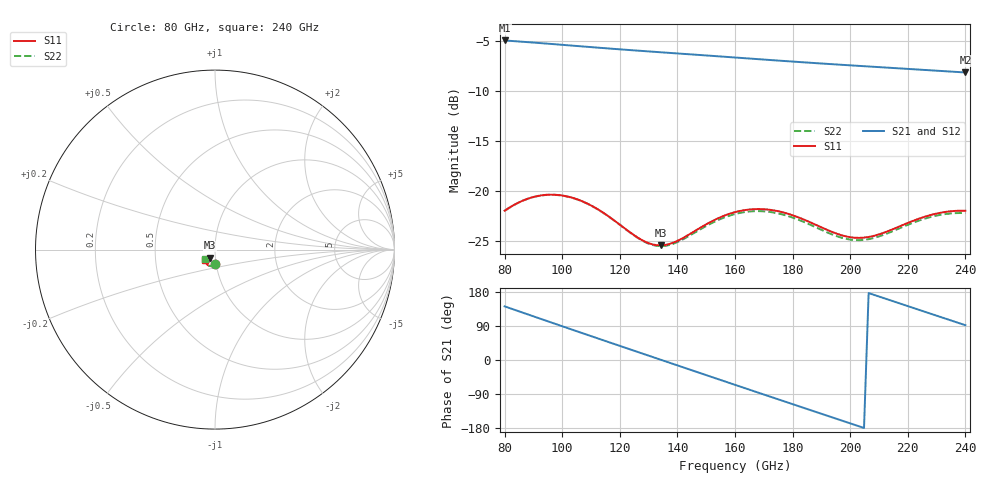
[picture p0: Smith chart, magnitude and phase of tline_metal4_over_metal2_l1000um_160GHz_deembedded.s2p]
! Created with skrf 2.2.0 (http://scikit-rf.org).
# GHz S DB R 50.0
! Port[1] = P1
! Port[2] = P2
!freq dBS11 angS11 dBS21 angS21 dBS12 angS12 dBS22 angS22
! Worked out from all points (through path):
!   101 points, 80 GHz to 240 GHz, reference 50 ohm
!   highest |S21| = -4.97 dB at 80 GHz (marker M1); lowest = -8.2 dB at 240 GHz (marker M2)
!   group delay of S21, straight-line fit = 7.11 ps
!   lowest |S11| = -25.4 dB at 134.4 GHz (marker M3), VSWR 1.11, Z = 47 - j4.3 ohm
!   |S11| at or under -10 dB: start of sweep to end of sweep
!   |S22| runs from -25.5 to -20.4 dB; largest |S21 - S12| = 8.9e-14
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80  -21.95 -91.5  -4.97 141.6  -4.97 141.6  -21.96 -90.7
88  -20.75 -99.1  -5.14 120.5  -5.14 120.5  -20.76 -98.6
94.4  -20.36 -107.7  -5.28 103.7  -5.28 103.7  -20.37 -107.4
100.8  -20.46 -116.7  -5.43 87.0  -5.43 87.0  -20.48 -116.5
107.2  -21.03 -124.9  -5.57 70.4  -5.57 70.4  -21.05 -124.9
115.2  -22.32 -132.3  -5.75 49.6  -5.75 49.6  -22.34 -132.4
121.6  -23.68 -133.9  -5.89 33.1  -5.89 33.1  -23.70 -134.3
128  -24.92 -130.1  -6.02 16.7  -6.02 16.7  -24.96 -130.8
134.4  -25.39 -122.0  -6.15 0.2  -6.15 0.2  -25.48 -122.8
145.6  -24.04 -112.4  -6.38 -28.6  -6.38 -28.6  -24.20 -113.3
153.6  -22.77 -114.3  -6.54 -49.1  -6.54 -49.1  -22.94 -115.1
160  -22.08 -119.0  -6.67 -65.5  -6.67 -65.5  -22.28 -119.8
166.4  -21.79 -124.9  -6.80 -81.9  -6.80 -81.9  -21.99 -125.7
172.8  -21.88 -130.9  -6.93 -98.2  -6.93 -98.2  -22.10 -131.6
179.2  -22.32 -135.8  -7.06 -114.5  -7.06 -114.5  -22.55 -136.5
187.2  -23.23 -139.1  -7.22 -134.8  -7.22 -134.8  -23.48 -139.7
195.2  -24.22 -137.6  -7.37 -155.0  -7.37 -155.0  -24.47 -138.0
201.6  -24.63 -133.0  -7.48 -171.2  -7.48 -171.2  -24.87 -133.4
208  -24.46 -127.9  -7.60 172.6  -7.60 172.6  -24.68 -128.2
214.4  -23.83 -124.8  -7.71 156.4  -7.71 156.4  -24.03 -125.3
227.2  -22.43 -127.2  -7.94 124.0  -7.94 124.0  -22.63 -128.0
240  -21.94 -135.6  -8.16 91.8  -8.16 91.8  -22.18 -136.6
